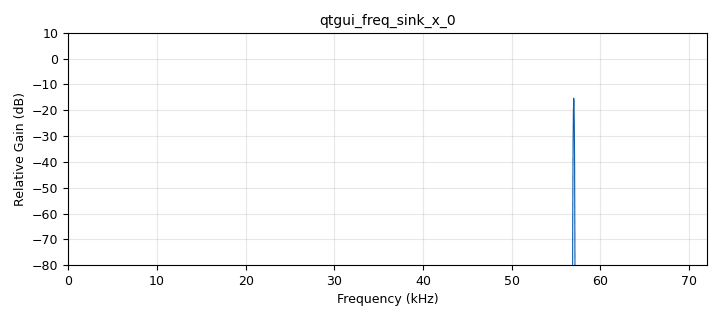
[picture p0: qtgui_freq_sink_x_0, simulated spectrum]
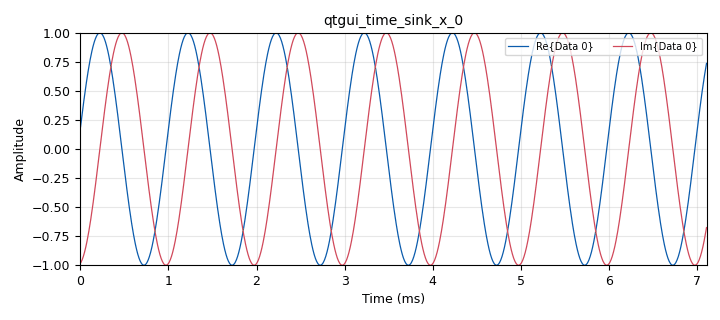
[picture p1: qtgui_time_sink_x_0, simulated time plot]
options:
  parameters:
    author: mdoallo
    generate_options: qt_gui
    id: EC
    output_language: python
    title: Envolvente compleja
  states: {}

blocks:
- name: frec
  id: variable_qtgui_range
  parameters:
    gui_hint: 0,0,1,1
    start: '-16000'
    step: '1000'
    stop: '16000'
    value: '1000'
  states: {}
- name: samp_rate
  id: variable
  parameters:
    value: '144000'
  states: {}
- name: analog_sig_source_x_0
  id: analog_sig_source_x
  parameters:
    amp: '1'
    comment: |-
      Envolvente compleja 
      que varia entre -16 KHz y 16 KHz
    freq: frec
    offset: '0'
    phase: '0'
    samp_rate: samp_rate
    type: complex
    waveform: analog.GR_COS_WAVE
  states: {}
- name: analog_sig_source_x_0_0
  id: analog_sig_source_x
  parameters:
    amp: '1'
    comment: Fasor portadora
    freq: '56000'
    offset: '0'
    phase: '0'
    samp_rate: samp_rate
    type: complex
    waveform: analog.GR_COS_WAVE
  states: {}
- name: blocks_complex_to_real_0
  id: blocks_complex_to_real
  parameters: {}
  states: {}
- name: blocks_multiply_xx_0
  id: blocks_multiply_xx
  parameters:
    comment: Conversión compleja
    type: complex
  states: {}
- name: blocks_throttle2_0
  id: blocks_throttle2
  parameters:
    samples_per_second: samp_rate
    type: complex
  states: {}
- name: qtgui_freq_sink_x_0
  id: qtgui_freq_sink_x
  parameters:
    bw: samp_rate
    comment: |-
      Espectro de la señal pasabanda 
      o modulada.
    fc: '0'
    fftsize: '4096'
    freqhalf: 'False'
    gui_hint: qtgui_tab@0
    type: float
    ymin: '-80'
  states: {}
- name: qtgui_tab
  id: qtgui_tab_widget
  parameters:
    gui_hint: 1,0,5,1
    label0: Dominio espectral
    label1: Dominio temporal
    num_tabs: '2'
  states: {}
- name: qtgui_time_sink_x_0
  id: qtgui_time_sink_x
  parameters:
    ctrlpanel: 'True'
    gui_hint: qtgui_tab@1
    size: '1024'
    srate: samp_rate
    type: complex
  states: {}

connections:
- [analog_sig_source_x_0, '0', blocks_multiply_xx_0, '0']
- [analog_sig_source_x_0, '0', blocks_throttle2_0, '0']
- [analog_sig_source_x_0, '0', qtgui_time_sink_x_0, '0']
- [analog_sig_source_x_0_0, '0', blocks_multiply_xx_0, '1']
- [blocks_complex_to_real_0, '0', qtgui_freq_sink_x_0, '0']
- [blocks_multiply_xx_0, '0', blocks_complex_to_real_0, '0']

metadata:
  file_format: 1
  grc_version: 3.10.12.0
